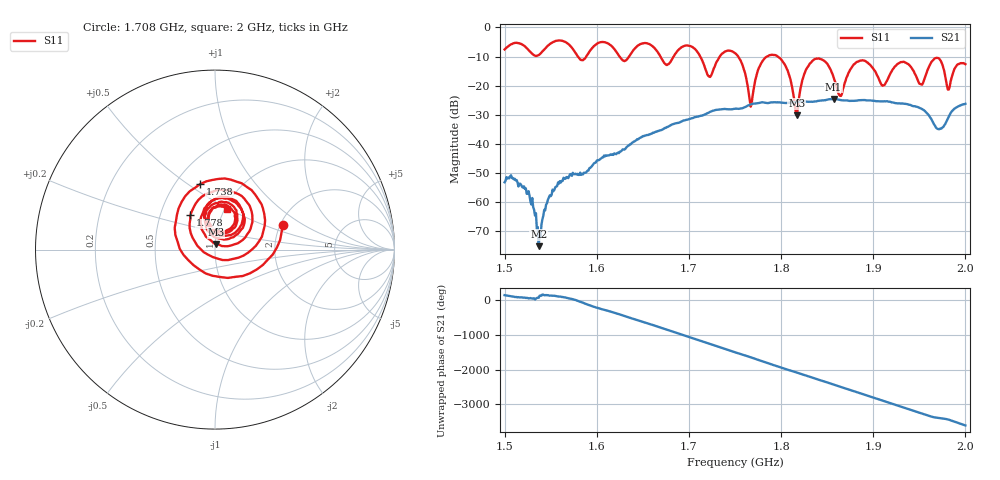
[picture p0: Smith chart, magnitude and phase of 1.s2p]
! NanoVNA-App by SYSJOINT et al v1.1.209 (+OD18)
! Date: 2026-01-21 14:31:40
! Start: 1,5GHz Stop: 2GHz Points: 501
! S-Parameter data: F S11 S21 S12 S22
# Hz S RI R 50
!  Frequency  S11_Real  S11_Imag  S21_Real  S21_Imag  S12_Real  S12_Imag  S22_Real  S22_Imag
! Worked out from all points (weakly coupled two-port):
!   501 points, 1.5 GHz to 2 GHz, reference 50 ohm
!   highest |S21| = -24.64 dB at 1.857 GHz (marker M1); lowest = -75.4 dB at 1.537 GHz (marker M2)
!   lowest |S11| = -30.3 dB at 1.817 GHz (marker M3), VSWR 1.06, Z = 50.4 + j3.04 ohm
!   |S11| at or under -10 dB: 1.712 GHz to 1.734 GHz (21.28 MHz wide, 1.23 % of centre); 1.753 GHz to 1.785 GHz (31.5 MHz wide, 1.78 % of centre); 1.796 GHz to end of sweep (the widest 3 of 6)
!   S12 and S22 are empty: the file has one direction only
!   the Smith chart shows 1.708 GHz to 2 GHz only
!   S11 on the Smith chart (normalised r, x): 1.708 GHz: 2.07, +0.68; 1.738 GHz: 0.66, +0.56; 1.778 GHz: 0.71, +0.29; 2 GHz: 1.03, +0.49
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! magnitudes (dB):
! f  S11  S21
! 1.5 GHz  -7.6  -53.4
! 1.525 GHz  -7.4  -57.3
! 1.537 GHz  -9.5  -75.4
! 1.554 GHz  -4.9  -55.9
! 1.584 GHz  -11.2  -50.4
! 1.667 GHz  -8.9  -35.7
! 1.708 GHz  -7.9  -30.8
! 1.722 GHz  -16.9  -29.2
! 1.738 GHz  -8.5  -28.1
! 1.75 GHz  -8.8  -28.0
! 1.767 GHz  -27.3  -26.5
! 1.778 GHz  -12.6  -25.8
! 1.8 GHz  -11.0  -25.9
! 1.817 GHz  -30.3  -25.7
! 1.834 GHz  -11.5  -25.6
! 1.857 GHz  -17.3  -24.6
! 1.917 GHz  -17.0  -25.6
! 1.934 GHz  -12.0  -26.3
! 1.952 GHz  -19.6  -27.9
! 1.972 GHz  -10.9  -35.0
! 1.982 GHz  -21.4  -30.7
! 2 GHz  -12.6  -26.3
